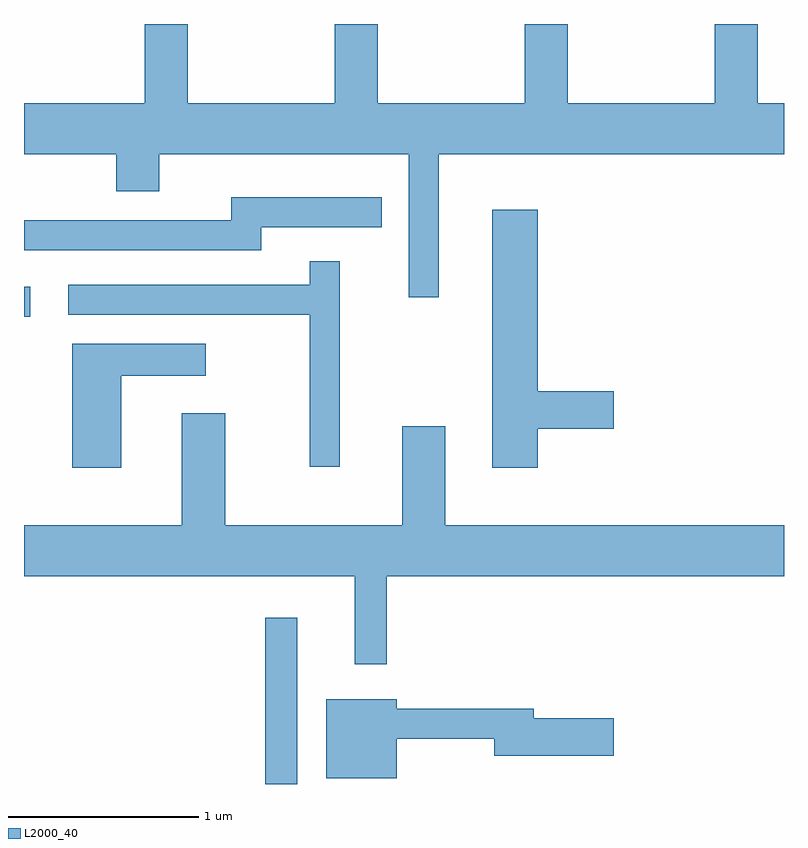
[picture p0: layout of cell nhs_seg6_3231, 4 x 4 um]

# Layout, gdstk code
import gdstk
lib = gdstk.Library(unit=1e-6, precision=1e-09)
def R(c, l, rs):  # rectangles x0, y0, x1, y1
    for r in rs: c.add(gdstk.rectangle(r[:2], r[2:], *l))
def P(c, l, *ps):  # polygons
    for p in ps: c.add(gdstk.Polygon(p, *l))
L2000_40 = (2000, 40)

nhs_seg6_3231 = lib.new_cell('nhs_seg6_3231')
R(nhs_seg6_3231, L2000_40, [(282.881,1662.162,283.049,1663.038), (281.611,1664.621,281.643,1664.779)])
P(nhs_seg6_3231, L2000_40, [(283.794,1665.476),(285.611,1665.476),(285.611,1665.744),(285.474,1665.744),(285.474,1666.162),(285.246,1666.162),(285.246,1665.744),(284.474,1665.744),(284.474,1666.162),(284.246,1666.162),(284.246,1665.744),(283.474,1665.744),(283.474,1666.162),(283.246,1666.162),(283.246,1665.744),(282.474,1665.744),(282.474,1666.162),(282.246,1666.162),(282.246,1665.744),(281.611,1665.744),(281.611,1665.476),(282.096,1665.476),(282.096,1665.281),(282.324,1665.281),(282.324,1665.476),(283.636,1665.476),(283.636,1664.723),(283.794,1664.723)],
  [(282.859,1665.091),(283.493,1665.091),(283.493,1665.249),(282.701,1665.249),(282.701,1665.129),(281.611,1665.129),(281.611,1664.971),(282.859,1664.971)],
  [(284.314,1664.031),(284.714,1664.031),(284.714,1664.229),(284.314,1664.229),(284.314,1665.184),(284.076,1665.184),(284.076,1663.826),(284.314,1663.826)],
  [(283.274,1664.913),(283.116,1664.913),(283.116,1664.789),(281.843,1664.789),(281.843,1664.631),(283.116,1664.631),(283.116,1663.833),(283.274,1663.833)],
  [(282.124,1664.311),(282.568,1664.311),(282.568,1664.479),(281.866,1664.479),(281.866,1663.826),(282.124,1663.826)],
  [(283.519,1663.256),(285.611,1663.256),(285.611,1663.524),(283.829,1663.524),(283.829,1664.044),(283.601,1664.044),(283.601,1663.524),(282.669,1663.524),(282.669,1664.114),(282.441,1664.114),(282.441,1663.524),(281.611,1663.524),(281.611,1663.256),(283.351,1663.256),(283.351,1662.793),(283.519,1662.793)],
  [(283.574,1662.401),(284.086,1662.401),(284.086,1662.311),(284.714,1662.311),(284.714,1662.509),(284.294,1662.509),(284.294,1662.559),(283.574,1662.559),(283.574,1662.609),(283.201,1662.609),(283.201,1662.191),(283.574,1662.191)])

lib.write_gds('nhs_seg6_3231.gds')
